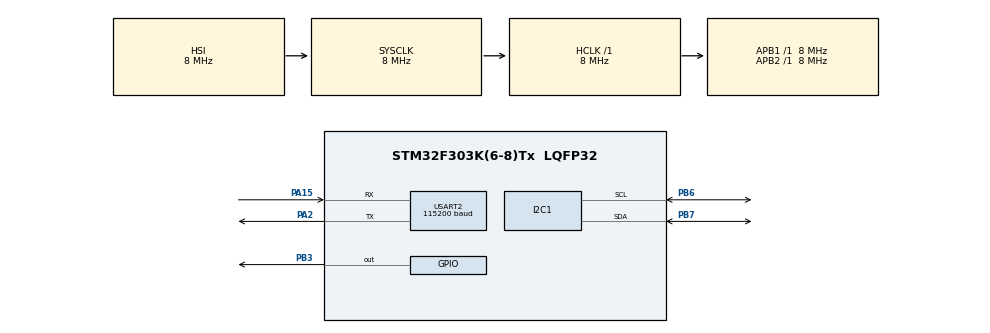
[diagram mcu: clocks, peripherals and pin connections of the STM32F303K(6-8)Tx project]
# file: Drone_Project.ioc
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FREERTOS.Mutexes01=IMU_Mutex,Dynamic,NULL,Available
FREERTOS.Tasks01=defaultTask,0,128,StartDefaultTask,Default,NULL,Dynamic,NULL,NULL;IMU_Task,-3,512,StartIMU_Task,Default,NULL,Dynamic,NULL,NULL
FREERTOS.configUSE_NEWLIB_REENTRANT=1
I2C1.Timing=0x00201D2B
Mcu.Family=STM32F3
Mcu.Name=STM32F303K(6-8)Tx
Mcu.Package=LQFP32
NVIC.PriorityGroup=NVIC_PRIORITYGROUP_4
NVIC.TIM3_IRQn=true\:15\:0\:false\:false\:true\:false\:false\:true\:true
NVIC.TimeBase=TIM3_IRQn
NVIC.TimeBaseIP=TIM3
PA13.GPIO_Label=SWDIO
PA13.Mode=Serial_Wire
PA13.Signal=SYS_JTMS-SWDIO
PA14.GPIO_Label=SWCLK
PA14.Mode=Serial_Wire
PA14.Signal=SYS_JTCK-SWCLK
PA15.Mode=Asynchronous
PA15.Signal=USART2_RX
PA2.Mode=Asynchronous
PA2.Signal=USART2_TX
PB3.PinState=GPIO_PIN_RESET
PB3.Signal=GPIO_Output
PB6.Mode=I2C
PB6.Signal=I2C1_SCL
PB7.Mode=I2C
PB7.Signal=I2C1_SDA
PF0\ /\ OSC_IN.GPIO_Label=MCO
PF0\ /\ OSC_IN.Mode=HSE-External-Oscillator
PF0\ /\ OSC_IN.Signal=RCC_OSC_IN
PF1\ /\ OSC_OUT.Mode=HSE-External-Oscillator
PF1\ /\ OSC_OUT.Signal=RCC_OSC_OUT
ProjectManager.HeapSize=0x200
ProjectManager.StackSize=0x400
ProjectManager.TargetToolchain=STM32CubeIDE
RCC.AHBFreq_Value=8000000
RCC.APB1Freq_Value=8000000
RCC.APB2Freq_Value=8000000
RCC.CortexFreq_Value=8000000
RCC.HSE_VALUE=8000000
RCC.HSI_VALUE=8000000
RCC.SYSCLKFreq_VALUE=8000000
USART2.BaudRate=115200
USART2.VirtualMode-Asynchronous=VM_ASYNC
VP_FREERTOS_VS_CMSIS_V1.Mode=CMSIS_V1
VP_SYS_VS_tim3.Mode=TIM3
board=NUCLEO-F303K8

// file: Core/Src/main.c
/* USER CODE BEGIN Header */
/**
  ******************************************************************************
  * @file           : main.c
  * @brief          : Main program body
  ******************************************************************************
  * @attention
  *
  * Copyright (c) 2026 STMicroelectronics.
  * All rights reserved.
  *
  * This software is licensed under terms that can be found in the LICENSE file
  * in the root directory of this software component.
  * If no LICENSE file comes with this software, it is provided AS-IS.
  *
  ******************************************************************************
  */
/* USER CODE END Header */
#include "main.h"
#include "cmsis_os.h"

/* USER CODE BEGIN Includes */
#include "IMU.h"
#include <stdio.h>
/* USER CODE END Includes */

I2C_HandleTypeDef hi2c1;

UART_HandleTypeDef huart2;

osThreadId defaultTaskHandle;
osThreadId IMU_TaskHandle;
osMutexId IMU_MutexHandle;

void SystemClock_Config(void);
static void MX_GPIO_Init(void);
static void MX_I2C1_Init(void);
static void MX_USART2_UART_Init(void);
void StartDefaultTask(void const * argument);
void StartIMU_Task(void const * argument);

int main(void)
{

  /* MCU Configuration--------------------------------------------------------*/

  /* Reset of all peripherals, Initializes the Flash interface and the Systick. */
  HAL_Init();

  /* Configure the system clock */
  SystemClock_Config();

  /* Initialize all configured peripherals */
  MX_GPIO_Init();
  MX_I2C1_Init();
  MX_USART2_UART_Init();

  /* Create the mutex(es) */
  /* definition and creation of IMU_Mutex */
  osMutexDef(IMU_Mutex);
  IMU_MutexHandle = osMutexCreate(osMutex(IMU_Mutex));

  /* Create the thread(s) */
  /* definition and creation of defaultTask */
  osThreadDef(defaultTask, StartDefaultTask, osPriorityNormal, 0, 128);
  defaultTaskHandle = osThreadCreate(osThread(defaultTask), NULL);

  /* definition and creation of IMU_Task */
  osThreadDef(IMU_Task, StartIMU_Task, osPriorityIdle, 0, 512);
  IMU_TaskHandle = osThreadCreate(osThread(IMU_Task), NULL);

  /* Start scheduler */
  osKernelStart();

  /* We should never get here as control is now taken by the scheduler */

  /* Infinite loop */
  while (1)
  {

  }
}

void SystemClock_Config(void)
{
  RCC_OscInitTypeDef RCC_OscInitStruct = {0};
  RCC_ClkInitTypeDef RCC_ClkInitStruct = {0};
  RCC_PeriphCLKInitTypeDef PeriphClkInit = {0};

  /** Initializes the RCC Oscillators according to the specified parameters
  * in the RCC_OscInitTypeDef structure.
  */
  RCC_OscInitStruct.OscillatorType = RCC_OSCILLATORTYPE_HSI;
  RCC_OscInitStruct.HSIState = RCC_HSI_ON;
  RCC_OscInitStruct.HSICalibrationValue = RCC_HSICALIBRATION_DEFAULT;
  RCC_OscInitStruct.PLL.PLLState = RCC_PLL_NONE;
  if (HAL_RCC_OscConfig(&RCC_OscInitStruct) != HAL_OK)
  {
    Error_Handler();
  }

  /** Initializes the CPU, AHB and APB buses clocks
  */
  RCC_ClkInitStruct.ClockType = RCC_CLOCKTYPE_HCLK|RCC_CLOCKTYPE_SYSCLK
                              |RCC_CLOCKTYPE_PCLK1|RCC_CLOCKTYPE_PCLK2;
  RCC_ClkInitStruct.SYSCLKSource = RCC_SYSCLKSOURCE_HSI;
  RCC_ClkInitStruct.AHBCLKDivider = RCC_SYSCLK_DIV1;
  RCC_ClkInitStruct.APB1CLKDivider = RCC_HCLK_DIV1;
  RCC_ClkInitStruct.APB2CLKDivider = RCC_HCLK_DIV1;

  if (HAL_RCC_ClockConfig(&RCC_ClkInitStruct, FLASH_LATENCY_0) != HAL_OK)
  {
    Error_Handler();
  }
  PeriphClkInit.PeriphClockSelection = RCC_PERIPHCLK_I2C1;
  PeriphClkInit.I2c1ClockSelection = RCC_I2C1CLKSOURCE_HSI;
  if (HAL_RCCEx_PeriphCLKConfig(&PeriphClkInit) != HAL_OK)
  {
    Error_Handler();
  }
}

static void MX_I2C1_Init(void)
{

  hi2c1.Instance = I2C1;
  hi2c1.Init.Timing = 0x00201D2B;
  hi2c1.Init.OwnAddress1 = 0;
  hi2c1.Init.AddressingMode = I2C_ADDRESSINGMODE_7BIT;
  hi2c1.Init.DualAddressMode = I2C_DUALADDRESS_DISABLE;
  hi2c1.Init.OwnAddress2 = 0;
  hi2c1.Init.OwnAddress2Masks = I2C_OA2_NOMASK;
  hi2c1.Init.GeneralCallMode = I2C_GENERALCALL_DISABLE;
  hi2c1.Init.NoStretchMode = I2C_NOSTRETCH_DISABLE;
  if (HAL_I2C_Init(&hi2c1) != HAL_OK)
  {
    Error_Handler();
  }

  /** Configure Analogue filter
  */
  if (HAL_I2CEx_ConfigAnalogFilter(&hi2c1, I2C_ANALOGFILTER_ENABLE) != HAL_OK)
  {
    Error_Handler();
  }

  /** Configure Digital filter
  */
  if (HAL_I2CEx_ConfigDigitalFilter(&hi2c1, 0) != HAL_OK)
  {
    Error_Handler();
  }

}

static void MX_USART2_UART_Init(void)
{

  huart2.Instance = USART2;
  huart2.Init.BaudRate = 115200;
  huart2.Init.WordLength = UART_WORDLENGTH_8B;
  huart2.Init.StopBits = UART_STOPBITS_1;
  huart2.Init.Parity = UART_PARITY_NONE;
  huart2.Init.Mode = UART_MODE_TX_RX;
  huart2.Init.HwFlowCtl = UART_HWCONTROL_NONE;
  huart2.Init.OverSampling = UART_OVERSAMPLING_16;
  huart2.Init.OneBitSampling = UART_ONE_BIT_SAMPLE_DISABLE;
  huart2.AdvancedInit.AdvFeatureInit = UART_ADVFEATURE_NO_INIT;
  if (HAL_UART_Init(&huart2) != HAL_OK)
  {
    Error_Handler();
  }

}

static void MX_GPIO_Init(void)
{
  GPIO_InitTypeDef GPIO_InitStruct = {0};

  /* GPIO Ports Clock Enable */
  __HAL_RCC_GPIOF_CLK_ENABLE();
  __HAL_RCC_GPIOA_CLK_ENABLE();
  __HAL_RCC_GPIOB_CLK_ENABLE();

  /*Configure GPIO pin Output Level */
  HAL_GPIO_WritePin(GPIOB, GPIO_PIN_3, GPIO_PIN_RESET);

  /*Configure GPIO pin : PB3 */
  GPIO_InitStruct.Pin = GPIO_PIN_3;
  GPIO_InitStruct.Mode = GPIO_MODE_OUTPUT_PP;
  GPIO_InitStruct.Pull = GPIO_NOPULL;
  GPIO_InitStruct.Speed = GPIO_SPEED_FREQ_LOW;
  HAL_GPIO_Init(GPIOB, &GPIO_InitStruct);

}

/* USER CODE BEGIN 4 */
int _write(int file, char *ptr, int len)
{
	HAL_UART_Transmit(&huart2, (uint8_t*)ptr, len, HAL_MAX_DELAY);
	return len;
}

/* USER CODE END 4 */

void StartDefaultTask(void const * argument)
{
  for(;;)
  {
    osDelay(1);
  }
}

void StartIMU_Task(void const * argument)
{
  /* USER CODE BEGIN StartIMU_Task */
  IMU_Init();
  IMU_Data_t IMU_Data;
  /* Infinite loop */
  for(;;)
  {
	if (IMU_Read(&IMU_Data) == HAL_OK)
	{
	printf ("Acceleration_X = %.3f g\r\n", IMU_Data.accel_x);
	printf ("Acceleration_Y = %.3f g\r\n", IMU_Data.accel_y);
	printf ("Acceleration_Z = %.3f g\r\n", IMU_Data.accel_z);
	printf ("Gyro_X = %.3f g\r\n", IMU_Data.gyro_x);
	printf ("Gyro_X = %.3f g\r\n", IMU_Data.gyro_y);
	printf ("Gyro_X = %.3f g\r\n", IMU_Data.gyro_z);
	printf ("--------------------------------\r\n");
	}
    osDelay(1000);
  }
  /* USER CODE END StartIMU_Task */
}

void HAL_TIM_PeriodElapsedCallback(TIM_HandleTypeDef *htim)
{
  if (htim->Instance == TIM3)
  {
    HAL_IncTick();
  }
}

void Error_Handler(void)
{
  __disable_irq();
  while (1)
  {
  }
}
